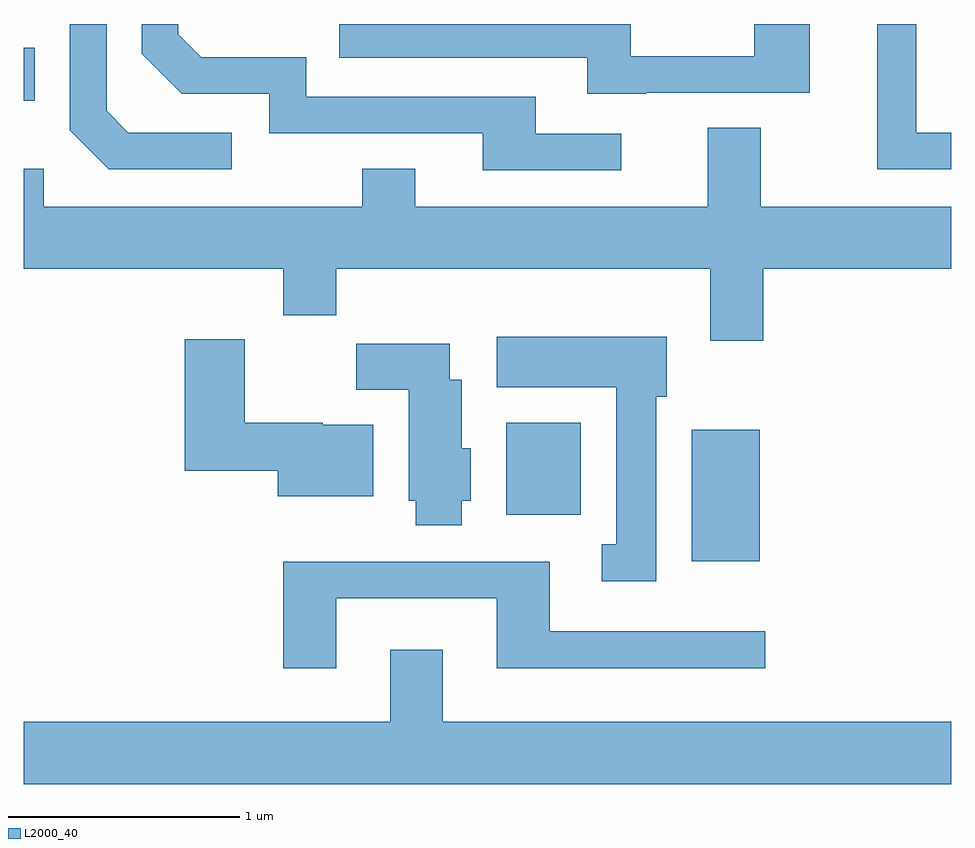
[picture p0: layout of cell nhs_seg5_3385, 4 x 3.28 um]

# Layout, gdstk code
import gdstk
lib = gdstk.Library(unit=1e-6, precision=1e-09)
def R(c, l, rs):  # rectangles x0, y0, x1, y1
    for r in rs: c.add(gdstk.rectangle(r[:2], r[2:], *l))
def P(c, l, *ps):  # polygons
    for p in ps: c.add(gdstk.Polygon(p, *l))
L2000_40 = (2000, 40)

nhs_seg5_3385 = lib.new_cell('nhs_seg5_3385')
R(nhs_seg5_3385, L2000_40, [(288.491,1457.756,288.784,1458.324), (287.691,1457.956,288.014,1458.354), (285.611,1459.741,285.659,1459.969)])
P(nhs_seg5_3385, L2000_40, [(289.611,1459.604),(289.459,1459.604),(289.459,1460.072),(289.291,1460.072),(289.291,1459.446),(289.611,1459.446)],
  [(288.295,1459.776),(288.999,1459.776),(288.999,1460.072),(288.761,1460.072),(288.761,1459.934),(288.229,1459.934),(288.229,1460.072),(286.973,1460.072),(286.973,1459.926),(288.041,1459.926),(288.041,1459.771),(288.295,1459.771)],
  [(288.188,1459.599),(287.819,1459.599),(287.819,1459.759),(286.829,1459.759),(286.829,1459.929),(286.377,1459.929),(286.279,1460.027),(286.279,1460.072),(286.121,1460.072),(286.121,1459.944),(286.294,1459.771),(286.671,1459.771),(286.671,1459.601),(287.591,1459.601),(287.591,1459.441),(288.188,1459.441)],
  [(286.508,1459.604),(286.062,1459.604),(285.969,1459.697),(285.969,1460.072),(285.811,1460.072),(285.811,1459.614),(285.979,1459.446),(286.508,1459.446)],
  [(288.799,1459.016),(289.611,1459.016),(289.611,1459.284),(288.789,1459.284),(288.789,1459.624),(288.561,1459.624),(288.561,1459.284),(287.299,1459.284),(287.299,1459.449),(287.071,1459.449),(287.071,1459.284),(285.699,1459.284),(285.699,1459.449),(285.611,1459.449),(285.611,1459.016),(286.731,1459.016),(286.731,1458.816),(286.959,1458.816),(286.959,1459.016),(288.571,1459.016),(288.571,1458.706),(288.799,1458.706)],
  [(288.339,1458.466),(288.384,1458.466),(288.384,1458.724),(287.651,1458.724),(287.651,1458.506),(288.166,1458.506),(288.166,1457.829),(288.103,1457.829),(288.103,1457.671),(288.339,1457.671)],
  [(287.119,1458.344),(286.9,1458.344),(286.9,1458.354),(286.564,1458.354),(286.564,1458.714),(286.306,1458.714),(286.306,1458.146),(286.706,1458.146),(286.706,1458.036),(287.119,1458.036)],
  [(287.499,1458.016),(287.539,1458.016),(287.539,1458.244),(287.499,1458.244),(287.499,1458.539),(287.449,1458.539),(287.449,1458.694),(287.046,1458.694),(287.046,1458.496),(287.271,1458.496),(287.271,1458.016),(287.301,1458.016),(287.301,1457.911),(287.499,1457.911)],
  [(286.959,1457.596),(287.651,1457.596),(287.651,1457.296),(288.808,1457.296),(288.808,1457.454),(287.879,1457.454),(287.879,1457.754),(286.731,1457.754),(286.731,1457.296),(286.959,1457.296)],
  [(289.611,1457.064),(287.419,1457.064),(287.419,1457.374),(287.191,1457.374),(287.191,1457.064),(285.611,1457.064),(285.611,1456.796),(289.611,1456.796)])

lib.write_gds('nhs_seg5_3385.gds')
